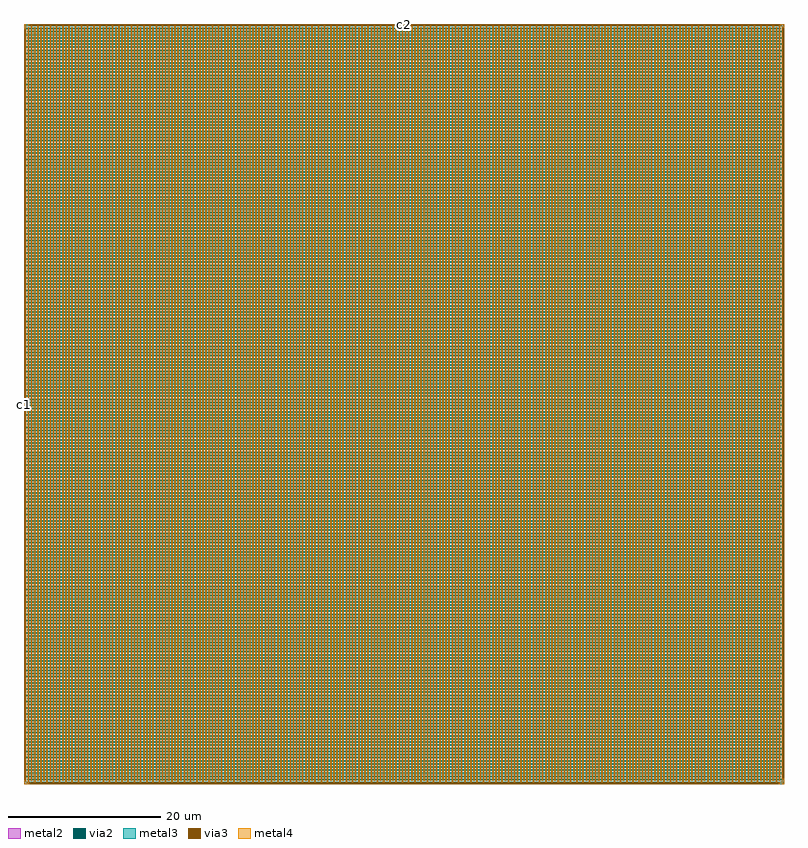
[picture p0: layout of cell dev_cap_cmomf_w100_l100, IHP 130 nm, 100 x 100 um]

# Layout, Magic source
magic
tech ihp-sg13cmos5l
magscale 1 2
<< metal2 >>
rect 0 19861 57 20000
rect 99 19960 139 20000
rect 19901 19960 20000 20000
rect 40 99 57 19861
rect 0 40 57 99
rect 99 40 139 19917
rect 181 83 221 19960
rect 263 40 303 19917
rect 345 83 385 19960
rect 427 40 467 19917
rect 509 83 549 19960
rect 591 40 631 19917
rect 673 83 713 19960
rect 755 40 795 19917
rect 837 83 877 19960
rect 919 40 959 19917
rect 1001 83 1041 19960
rect 1083 40 1123 19917
rect 1165 83 1205 19960
rect 1247 40 1287 19917
rect 1329 83 1369 19960
rect 1411 40 1451 19917
rect 1493 83 1533 19960
rect 1575 40 1615 19917
rect 1657 83 1697 19960
rect 1739 40 1779 19917
rect 1821 83 1861 19960
rect 1903 40 1943 19917
rect 1985 83 2025 19960
rect 2067 40 2107 19917
rect 2149 83 2189 19960
rect 2231 40 2271 19917
rect 2313 83 2353 19960
rect 2395 40 2435 19917
rect 2477 83 2517 19960
rect 2559 40 2599 19917
rect 2641 83 2681 19960
rect 2723 40 2763 19917
rect 2805 83 2845 19960
rect 2887 40 2927 19917
rect 2969 83 3009 19960
rect 3051 40 3091 19917
rect 3133 83 3173 19960
rect 3215 40 3255 19917
rect 3297 83 3337 19960
rect 3379 40 3419 19917
rect 3461 83 3501 19960
rect 3543 40 3583 19917
rect 3625 83 3665 19960
rect 3707 40 3747 19917
rect 3789 83 3829 19960
rect 3871 40 3911 19917
rect 3953 83 3993 19960
rect 4035 40 4075 19917
rect 4117 83 4157 19960
rect 4199 40 4239 19917
rect 4281 83 4321 19960
rect 4363 40 4403 19917
rect 4445 83 4485 19960
rect 4527 40 4567 19917
rect 4609 83 4649 19960
rect 4691 40 4731 19917
rect 4773 83 4813 19960
rect 4855 40 4895 19917
rect 4937 83 4977 19960
rect 5019 40 5059 19917
rect 5101 83 5141 19960
rect 5183 40 5223 19917
rect 5265 83 5305 19960
rect 5347 40 5387 19917
rect 5429 83 5469 19960
rect 5511 40 5551 19917
rect 5593 83 5633 19960
rect 5675 40 5715 19917
rect 5757 83 5797 19960
rect 5839 40 5879 19917
rect 5921 83 5961 19960
rect 6003 40 6043 19917
rect 6085 83 6125 19960
rect 6167 40 6207 19917
rect 6249 83 6289 19960
rect 6331 40 6371 19917
rect 6413 83 6453 19960
rect 6495 40 6535 19917
rect 6577 83 6617 19960
rect 6659 40 6699 19917
rect 6741 83 6781 19960
rect 6823 40 6863 19917
rect 6905 83 6945 19960
rect 6987 40 7027 19917
rect 7069 83 7109 19960
rect 7151 40 7191 19917
rect 7233 83 7273 19960
rect 7315 40 7355 19917
rect 7397 83 7437 19960
rect 7479 40 7519 19917
rect 7561 83 7601 19960
rect 7643 40 7683 19917
rect 7725 83 7765 19960
rect 7807 40 7847 19917
rect 7889 83 7929 19960
rect 7971 40 8011 19917
rect 8053 83 8093 19960
rect 8135 40 8175 19917
rect 8217 83 8257 19960
rect 8299 40 8339 19917
rect 8381 83 8421 19960
rect 8463 40 8503 19917
rect 8545 83 8585 19960
rect 8627 40 8667 19917
rect 8709 83 8749 19960
rect 8791 40 8831 19917
rect 8873 83 8913 19960
rect 8955 40 8995 19917
rect 9037 83 9077 19960
rect 9119 40 9159 19917
rect 9201 83 9241 19960
rect 9283 40 9323 19917
rect 9365 83 9405 19960
rect 9447 40 9487 19917
rect 9529 83 9569 19960
rect 9611 40 9651 19917
rect 9693 83 9733 19960
rect 9775 40 9815 19917
rect 9857 83 9897 19960
rect 9939 40 9979 19917
rect 10021 83 10061 19960
rect 10103 40 10143 19917
rect 10185 83 10225 19960
rect 10267 40 10307 19917
rect 10349 83 10389 19960
rect 10431 40 10471 19917
rect 10513 83 10553 19960
rect 10595 40 10635 19917
rect 10677 83 10717 19960
rect 10759 40 10799 19917
rect 10841 83 10881 19960
rect 10923 40 10963 19917
rect 11005 83 11045 19960
rect 11087 40 11127 19917
rect 11169 83 11209 19960
rect 11251 40 11291 19917
rect 11333 83 11373 19960
rect 11415 40 11455 19917
rect 11497 83 11537 19960
rect 11579 40 11619 19917
rect 11661 83 11701 19960
rect 11743 40 11783 19917
rect 11825 83 11865 19960
rect 11907 40 11947 19917
rect 11989 83 12029 19960
rect 12071 40 12111 19917
rect 12153 83 12193 19960
rect 12235 40 12275 19917
rect 12317 83 12357 19960
rect 12399 40 12439 19917
rect 12481 83 12521 19960
rect 12563 40 12603 19917
rect 12645 83 12685 19960
rect 12727 40 12767 19917
rect 12809 83 12849 19960
rect 12891 40 12931 19917
rect 12973 83 13013 19960
rect 13055 40 13095 19917
rect 13137 83 13177 19960
rect 13219 40 13259 19917
rect 13301 83 13341 19960
rect 13383 40 13423 19917
rect 13465 83 13505 19960
rect 13547 40 13587 19917
rect 13629 83 13669 19960
rect 13711 40 13751 19917
rect 13793 83 13833 19960
rect 13875 40 13915 19917
rect 13957 83 13997 19960
rect 14039 40 14079 19917
rect 14121 83 14161 19960
rect 14203 40 14243 19917
rect 14285 83 14325 19960
rect 14367 40 14407 19917
rect 14449 83 14489 19960
rect 14531 40 14571 19917
rect 14613 83 14653 19960
rect 14695 40 14735 19917
rect 14777 83 14817 19960
rect 14859 40 14899 19917
rect 14941 83 14981 19960
rect 15023 40 15063 19917
rect 15105 83 15145 19960
rect 15187 40 15227 19917
rect 15269 83 15309 19960
rect 15351 40 15391 19917
rect 15433 83 15473 19960
rect 15515 40 15555 19917
rect 15597 83 15637 19960
rect 15679 40 15719 19917
rect 15761 83 15801 19960
rect 15843 40 15883 19917
rect 15925 83 15965 19960
rect 16007 40 16047 19917
rect 16089 83 16129 19960
rect 16171 40 16211 19917
rect 16253 83 16293 19960
rect 16335 40 16375 19917
rect 16417 83 16457 19960
rect 16499 40 16539 19917
rect 16581 83 16621 19960
rect 16663 40 16703 19917
rect 16745 83 16785 19960
rect 16827 40 16867 19917
rect 16909 83 16949 19960
rect 16991 40 17031 19917
rect 17073 83 17113 19960
rect 17155 40 17195 19917
rect 17237 83 17277 19960
rect 17319 40 17359 19917
rect 17401 83 17441 19960
rect 17483 40 17523 19917
rect 17565 83 17605 19960
rect 17647 40 17687 19917
rect 17729 83 17769 19960
rect 17811 40 17851 19917
rect 17893 83 17933 19960
rect 17975 40 18015 19917
rect 18057 83 18097 19960
rect 18139 40 18179 19917
rect 18221 83 18261 19960
rect 18303 40 18343 19917
rect 18385 83 18425 19960
rect 18467 40 18507 19917
rect 18549 83 18589 19960
rect 18631 40 18671 19917
rect 18713 83 18753 19960
rect 18795 40 18835 19917
rect 18877 83 18917 19960
rect 18959 40 18999 19917
rect 19041 83 19081 19960
rect 19123 40 19163 19917
rect 19205 83 19245 19960
rect 19287 40 19327 19917
rect 19369 83 19409 19960
rect 19451 40 19491 19917
rect 19533 83 19573 19960
rect 19615 40 19655 19917
rect 19697 83 19737 19960
rect 19779 40 19819 19917
rect 19861 83 19901 19960
rect 19943 19901 20000 19960
rect 19943 139 19960 19901
rect 0 0 139 40
rect 19861 0 19901 40
rect 19943 0 20000 139
<< via2 >>
rect 139 19960 19901 20000
rect 0 99 40 19861
rect 19960 139 20000 19901
rect 139 0 19861 40
<< metal3 >>
rect 0 19960 139 20000
rect 19901 19960 20000 20000
rect 0 19943 20000 19960
rect 19960 19901 20000 19943
rect 0 19861 19918 19901
rect 82 19779 19960 19819
rect 40 19697 19918 19737
rect 82 19615 19960 19655
rect 40 19533 19918 19573
rect 82 19451 19960 19491
rect 40 19369 19918 19409
rect 82 19287 19960 19327
rect 40 19205 19918 19245
rect 82 19123 19960 19163
rect 40 19041 19918 19081
rect 82 18959 19960 18999
rect 40 18877 19918 18917
rect 82 18795 19960 18835
rect 40 18713 19918 18753
rect 82 18631 19960 18671
rect 40 18549 19918 18589
rect 82 18467 19960 18507
rect 40 18385 19918 18425
rect 82 18303 19960 18343
rect 40 18221 19918 18261
rect 82 18139 19960 18179
rect 40 18057 19918 18097
rect 82 17975 19960 18015
rect 40 17893 19918 17933
rect 82 17811 19960 17851
rect 40 17729 19918 17769
rect 82 17647 19960 17687
rect 40 17565 19918 17605
rect 82 17483 19960 17523
rect 40 17401 19918 17441
rect 82 17319 19960 17359
rect 40 17237 19918 17277
rect 82 17155 19960 17195
rect 40 17073 19918 17113
rect 82 16991 19960 17031
rect 40 16909 19918 16949
rect 82 16827 19960 16867
rect 40 16745 19918 16785
rect 82 16663 19960 16703
rect 40 16581 19918 16621
rect 82 16499 19960 16539
rect 40 16417 19918 16457
rect 82 16335 19960 16375
rect 40 16253 19918 16293
rect 82 16171 19960 16211
rect 40 16089 19918 16129
rect 82 16007 19960 16047
rect 40 15925 19918 15965
rect 82 15843 19960 15883
rect 40 15761 19918 15801
rect 82 15679 19960 15719
rect 40 15597 19918 15637
rect 82 15515 19960 15555
rect 40 15433 19918 15473
rect 82 15351 19960 15391
rect 40 15269 19918 15309
rect 82 15187 19960 15227
rect 40 15105 19918 15145
rect 82 15023 19960 15063
rect 40 14941 19918 14981
rect 82 14859 19960 14899
rect 40 14777 19918 14817
rect 82 14695 19960 14735
rect 40 14613 19918 14653
rect 82 14531 19960 14571
rect 40 14449 19918 14489
rect 82 14367 19960 14407
rect 40 14285 19918 14325
rect 82 14203 19960 14243
rect 40 14121 19918 14161
rect 82 14039 19960 14079
rect 40 13957 19918 13997
rect 82 13875 19960 13915
rect 40 13793 19918 13833
rect 82 13711 19960 13751
rect 40 13629 19918 13669
rect 82 13547 19960 13587
rect 40 13465 19918 13505
rect 82 13383 19960 13423
rect 40 13301 19918 13341
rect 82 13219 19960 13259
rect 40 13137 19918 13177
rect 82 13055 19960 13095
rect 40 12973 19918 13013
rect 82 12891 19960 12931
rect 40 12809 19918 12849
rect 82 12727 19960 12767
rect 40 12645 19918 12685
rect 82 12563 19960 12603
rect 40 12481 19918 12521
rect 82 12399 19960 12439
rect 40 12317 19918 12357
rect 82 12235 19960 12275
rect 40 12153 19918 12193
rect 82 12071 19960 12111
rect 40 11989 19918 12029
rect 82 11907 19960 11947
rect 40 11825 19918 11865
rect 82 11743 19960 11783
rect 40 11661 19918 11701
rect 82 11579 19960 11619
rect 40 11497 19918 11537
rect 82 11415 19960 11455
rect 40 11333 19918 11373
rect 82 11251 19960 11291
rect 40 11169 19918 11209
rect 82 11087 19960 11127
rect 40 11005 19918 11045
rect 82 10923 19960 10963
rect 40 10841 19918 10881
rect 82 10759 19960 10799
rect 40 10677 19918 10717
rect 82 10595 19960 10635
rect 40 10513 19918 10553
rect 82 10431 19960 10471
rect 40 10349 19918 10389
rect 82 10267 19960 10307
rect 40 10185 19918 10225
rect 82 10103 19960 10143
rect 40 10021 19918 10061
rect 82 9939 19960 9979
rect 40 9857 19918 9897
rect 82 9775 19960 9815
rect 40 9693 19918 9733
rect 82 9611 19960 9651
rect 40 9529 19918 9569
rect 82 9447 19960 9487
rect 40 9365 19918 9405
rect 82 9283 19960 9323
rect 40 9201 19918 9241
rect 82 9119 19960 9159
rect 40 9037 19918 9077
rect 82 8955 19960 8995
rect 40 8873 19918 8913
rect 82 8791 19960 8831
rect 40 8709 19918 8749
rect 82 8627 19960 8667
rect 40 8545 19918 8585
rect 82 8463 19960 8503
rect 40 8381 19918 8421
rect 82 8299 19960 8339
rect 40 8217 19918 8257
rect 82 8135 19960 8175
rect 40 8053 19918 8093
rect 82 7971 19960 8011
rect 40 7889 19918 7929
rect 82 7807 19960 7847
rect 40 7725 19918 7765
rect 82 7643 19960 7683
rect 40 7561 19918 7601
rect 82 7479 19960 7519
rect 40 7397 19918 7437
rect 82 7315 19960 7355
rect 40 7233 19918 7273
rect 82 7151 19960 7191
rect 40 7069 19918 7109
rect 82 6987 19960 7027
rect 40 6905 19918 6945
rect 82 6823 19960 6863
rect 40 6741 19918 6781
rect 82 6659 19960 6699
rect 40 6577 19918 6617
rect 82 6495 19960 6535
rect 40 6413 19918 6453
rect 82 6331 19960 6371
rect 40 6249 19918 6289
rect 82 6167 19960 6207
rect 40 6085 19918 6125
rect 82 6003 19960 6043
rect 40 5921 19918 5961
rect 82 5839 19960 5879
rect 40 5757 19918 5797
rect 82 5675 19960 5715
rect 40 5593 19918 5633
rect 82 5511 19960 5551
rect 40 5429 19918 5469
rect 82 5347 19960 5387
rect 40 5265 19918 5305
rect 82 5183 19960 5223
rect 40 5101 19918 5141
rect 82 5019 19960 5059
rect 40 4937 19918 4977
rect 82 4855 19960 4895
rect 40 4773 19918 4813
rect 82 4691 19960 4731
rect 40 4609 19918 4649
rect 82 4527 19960 4567
rect 40 4445 19918 4485
rect 82 4363 19960 4403
rect 40 4281 19918 4321
rect 82 4199 19960 4239
rect 40 4117 19918 4157
rect 82 4035 19960 4075
rect 40 3953 19918 3993
rect 82 3871 19960 3911
rect 40 3789 19918 3829
rect 82 3707 19960 3747
rect 40 3625 19918 3665
rect 82 3543 19960 3583
rect 40 3461 19918 3501
rect 82 3379 19960 3419
rect 40 3297 19918 3337
rect 82 3215 19960 3255
rect 40 3133 19918 3173
rect 82 3051 19960 3091
rect 40 2969 19918 3009
rect 82 2887 19960 2927
rect 40 2805 19918 2845
rect 82 2723 19960 2763
rect 40 2641 19918 2681
rect 82 2559 19960 2599
rect 40 2477 19918 2517
rect 82 2395 19960 2435
rect 40 2313 19918 2353
rect 82 2231 19960 2271
rect 40 2149 19918 2189
rect 82 2067 19960 2107
rect 40 1985 19918 2025
rect 82 1903 19960 1943
rect 40 1821 19918 1861
rect 82 1739 19960 1779
rect 40 1657 19918 1697
rect 82 1575 19960 1615
rect 40 1493 19918 1533
rect 82 1411 19960 1451
rect 40 1329 19918 1369
rect 82 1247 19960 1287
rect 40 1165 19918 1205
rect 82 1083 19960 1123
rect 40 1001 19918 1041
rect 82 919 19960 959
rect 40 837 19918 877
rect 82 755 19960 795
rect 40 673 19918 713
rect 82 591 19960 631
rect 40 509 19918 549
rect 82 427 19960 467
rect 40 345 19918 385
rect 82 263 19960 303
rect 40 181 19918 221
rect 82 99 20000 139
rect 0 57 40 99
rect 0 40 20000 57
rect 0 0 139 40
rect 19861 0 20000 40
<< via3 >>
rect 139 19960 19901 20000
rect 0 99 40 19861
rect 19960 139 20000 19901
rect 139 0 19861 40
<< metal4 >>
rect 0 19861 57 20000
rect 99 19960 139 20000
rect 19901 19960 20000 20000
rect 40 99 57 19861
rect 0 40 57 99
rect 99 40 139 19918
rect 181 82 221 19960
rect 263 40 303 19918
rect 345 82 385 19960
rect 427 40 467 19918
rect 509 82 549 19960
rect 591 40 631 19918
rect 673 82 713 19960
rect 755 40 795 19918
rect 837 82 877 19960
rect 919 40 959 19918
rect 1001 82 1041 19960
rect 1083 40 1123 19918
rect 1165 82 1205 19960
rect 1247 40 1287 19918
rect 1329 82 1369 19960
rect 1411 40 1451 19918
rect 1493 82 1533 19960
rect 1575 40 1615 19918
rect 1657 82 1697 19960
rect 1739 40 1779 19918
rect 1821 82 1861 19960
rect 1903 40 1943 19918
rect 1985 82 2025 19960
rect 2067 40 2107 19918
rect 2149 82 2189 19960
rect 2231 40 2271 19918
rect 2313 82 2353 19960
rect 2395 40 2435 19918
rect 2477 82 2517 19960
rect 2559 40 2599 19918
rect 2641 82 2681 19960
rect 2723 40 2763 19918
rect 2805 82 2845 19960
rect 2887 40 2927 19918
rect 2969 82 3009 19960
rect 3051 40 3091 19918
rect 3133 82 3173 19960
rect 3215 40 3255 19918
rect 3297 82 3337 19960
rect 3379 40 3419 19918
rect 3461 82 3501 19960
rect 3543 40 3583 19918
rect 3625 82 3665 19960
rect 3707 40 3747 19918
rect 3789 82 3829 19960
rect 3871 40 3911 19918
rect 3953 82 3993 19960
rect 4035 40 4075 19918
rect 4117 82 4157 19960
rect 4199 40 4239 19918
rect 4281 82 4321 19960
rect 4363 40 4403 19918
rect 4445 82 4485 19960
rect 4527 40 4567 19918
rect 4609 82 4649 19960
rect 4691 40 4731 19918
rect 4773 82 4813 19960
rect 4855 40 4895 19918
rect 4937 82 4977 19960
rect 5019 40 5059 19918
rect 5101 82 5141 19960
rect 5183 40 5223 19918
rect 5265 82 5305 19960
rect 5347 40 5387 19918
rect 5429 82 5469 19960
rect 5511 40 5551 19918
rect 5593 82 5633 19960
rect 5675 40 5715 19918
rect 5757 82 5797 19960
rect 5839 40 5879 19918
rect 5921 82 5961 19960
rect 6003 40 6043 19918
rect 6085 82 6125 19960
rect 6167 40 6207 19918
rect 6249 82 6289 19960
rect 6331 40 6371 19918
rect 6413 82 6453 19960
rect 6495 40 6535 19918
rect 6577 82 6617 19960
rect 6659 40 6699 19918
rect 6741 82 6781 19960
rect 6823 40 6863 19918
rect 6905 82 6945 19960
rect 6987 40 7027 19918
rect 7069 82 7109 19960
rect 7151 40 7191 19918
rect 7233 82 7273 19960
rect 7315 40 7355 19918
rect 7397 82 7437 19960
rect 7479 40 7519 19918
rect 7561 82 7601 19960
rect 7643 40 7683 19918
rect 7725 82 7765 19960
rect 7807 40 7847 19918
rect 7889 82 7929 19960
rect 7971 40 8011 19918
rect 8053 82 8093 19960
rect 8135 40 8175 19918
rect 8217 82 8257 19960
rect 8299 40 8339 19918
rect 8381 82 8421 19960
rect 8463 40 8503 19918
rect 8545 82 8585 19960
rect 8627 40 8667 19918
rect 8709 82 8749 19960
rect 8791 40 8831 19918
rect 8873 82 8913 19960
rect 8955 40 8995 19918
rect 9037 82 9077 19960
rect 9119 40 9159 19918
rect 9201 82 9241 19960
rect 9283 40 9323 19918
rect 9365 82 9405 19960
rect 9447 40 9487 19918
rect 9529 82 9569 19960
rect 9611 40 9651 19918
rect 9693 82 9733 19960
rect 9775 40 9815 19918
rect 9857 82 9897 19960
rect 9939 40 9979 19918
rect 10021 82 10061 19960
rect 10103 40 10143 19918
rect 10185 82 10225 19960
rect 10267 40 10307 19918
rect 10349 82 10389 19960
rect 10431 40 10471 19918
rect 10513 82 10553 19960
rect 10595 40 10635 19918
rect 10677 82 10717 19960
rect 10759 40 10799 19918
rect 10841 82 10881 19960
rect 10923 40 10963 19918
rect 11005 82 11045 19960
rect 11087 40 11127 19918
rect 11169 82 11209 19960
rect 11251 40 11291 19918
rect 11333 82 11373 19960
rect 11415 40 11455 19918
rect 11497 82 11537 19960
rect 11579 40 11619 19918
rect 11661 82 11701 19960
rect 11743 40 11783 19918
rect 11825 82 11865 19960
rect 11907 40 11947 19918
rect 11989 82 12029 19960
rect 12071 40 12111 19918
rect 12153 82 12193 19960
rect 12235 40 12275 19918
rect 12317 82 12357 19960
rect 12399 40 12439 19918
rect 12481 82 12521 19960
rect 12563 40 12603 19918
rect 12645 82 12685 19960
rect 12727 40 12767 19918
rect 12809 82 12849 19960
rect 12891 40 12931 19918
rect 12973 82 13013 19960
rect 13055 40 13095 19918
rect 13137 82 13177 19960
rect 13219 40 13259 19918
rect 13301 82 13341 19960
rect 13383 40 13423 19918
rect 13465 82 13505 19960
rect 13547 40 13587 19918
rect 13629 82 13669 19960
rect 13711 40 13751 19918
rect 13793 82 13833 19960
rect 13875 40 13915 19918
rect 13957 82 13997 19960
rect 14039 40 14079 19918
rect 14121 82 14161 19960
rect 14203 40 14243 19918
rect 14285 82 14325 19960
rect 14367 40 14407 19918
rect 14449 82 14489 19960
rect 14531 40 14571 19918
rect 14613 82 14653 19960
rect 14695 40 14735 19918
rect 14777 82 14817 19960
rect 14859 40 14899 19918
rect 14941 82 14981 19960
rect 15023 40 15063 19918
rect 15105 82 15145 19960
rect 15187 40 15227 19918
rect 15269 82 15309 19960
rect 15351 40 15391 19918
rect 15433 82 15473 19960
rect 15515 40 15555 19918
rect 15597 82 15637 19960
rect 15679 40 15719 19918
rect 15761 82 15801 19960
rect 15843 40 15883 19918
rect 15925 82 15965 19960
rect 16007 40 16047 19918
rect 16089 82 16129 19960
rect 16171 40 16211 19918
rect 16253 82 16293 19960
rect 16335 40 16375 19918
rect 16417 82 16457 19960
rect 16499 40 16539 19918
rect 16581 82 16621 19960
rect 16663 40 16703 19918
rect 16745 82 16785 19960
rect 16827 40 16867 19918
rect 16909 82 16949 19960
rect 16991 40 17031 19918
rect 17073 82 17113 19960
rect 17155 40 17195 19918
rect 17237 82 17277 19960
rect 17319 40 17359 19918
rect 17401 82 17441 19960
rect 17483 40 17523 19918
rect 17565 82 17605 19960
rect 17647 40 17687 19918
rect 17729 82 17769 19960
rect 17811 40 17851 19918
rect 17893 82 17933 19960
rect 17975 40 18015 19918
rect 18057 82 18097 19960
rect 18139 40 18179 19918
rect 18221 82 18261 19960
rect 18303 40 18343 19918
rect 18385 82 18425 19960
rect 18467 40 18507 19918
rect 18549 82 18589 19960
rect 18631 40 18671 19918
rect 18713 82 18753 19960
rect 18795 40 18835 19918
rect 18877 82 18917 19960
rect 18959 40 18999 19918
rect 19041 82 19081 19960
rect 19123 40 19163 19918
rect 19205 82 19245 19960
rect 19287 40 19327 19918
rect 19369 82 19409 19960
rect 19451 40 19491 19918
rect 19533 82 19573 19960
rect 19615 40 19655 19918
rect 19697 82 19737 19960
rect 19779 40 19819 19918
rect 19861 82 19901 19960
rect 19943 19901 20000 19960
rect 19943 139 19960 19901
rect 0 0 139 40
rect 19861 0 19901 40
rect 19943 0 20000 139
<< labels >>
rlabel via3 2 10000 2 10000 0 c1
port 1 nsew
rlabel via3 10000 19998 10000 19998 0 c2
port 2 nsew
<< properties >>
string device devcap None 0 0 1 1 9965.6577 c1 0 0 c2 0 0
string FIXED_BBOX 0 0 20000 20000
string gencell cap_cmomf
string library sg13cmos5l
string parameters w 100 l 100 value 9.28 class capacitor mmin metal2 mmax metal4 square 1 subblock 0 lmin 2.00 wmin 2.00 lmax 100.0 wmax 100.0
<< end >>
